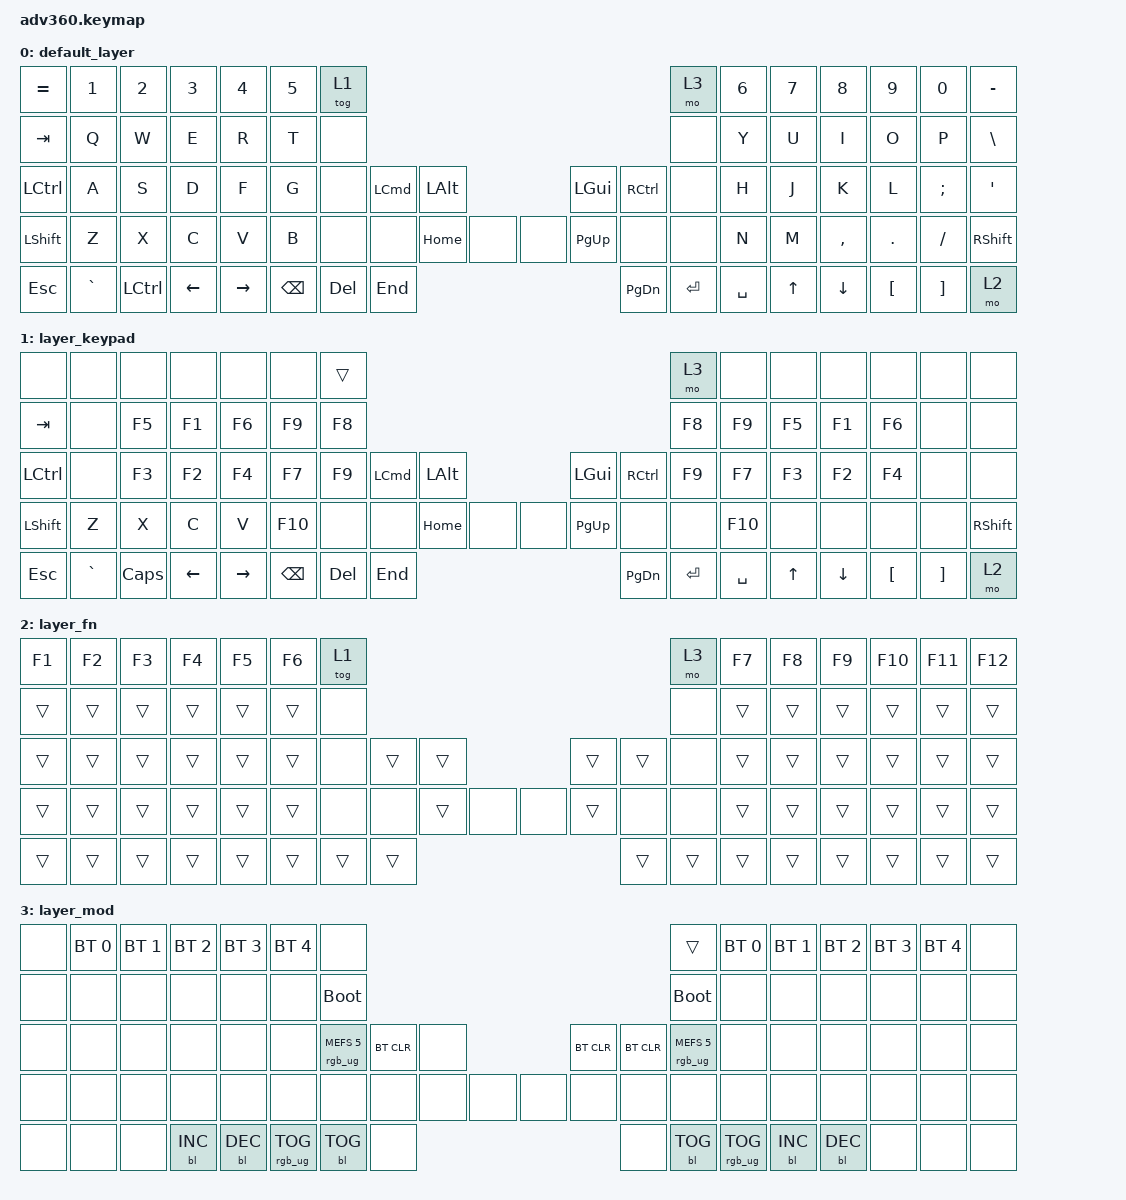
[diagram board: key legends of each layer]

/*
 * Copyright (c) 2020 The ZMK Contributors
 *
 * SPDX-License-Identifier: MIT
 */


/* THIS FILE WAS GENERATED!
 *
 * This file was generated automatically. You may or may not want to
 * edit it directly.
 */

#include <behaviors.dtsi>
#include <dt-bindings/zmk/keys.h>
#include <dt-bindings/zmk/bt.h>
#include <dt-bindings/zmk/rgb.h>
#include <dt-bindings/zmk/backlight.h>

/ {
  behaviors {
    #include "macros.dtsi"

    hm: homerow_mods {
        compatible = "zmk,behavior-hold-tap";
        label = "HOMEROW_MODS";
        #binding-cells = <2>;
        tapping-term-ms = <200>;
        quick_tap_ms = <175>;
        flavor = "tap-preferred";
        bindings = <&kp>, <&kp>;
    };
  };

    keymap {
        compatible = "zmk,keymap";


        default_layer {
            bindings = <
 &kp EQUAL     &kp N1     &kp N2    &kp N3     &kp N4  &kp N5              &tog 1                                                                        &mo 3  &kp N6  &kp N7     &kp N8    &kp N9    &kp N0  &kp MINUS
   &kp TAB      &kp Q      &kp W     &kp E      &kp R   &kp T               &none                                                                        &none   &kp Y   &kp U      &kp I     &kp O     &kp P   &kp BSLH
 &kp LCTRL      &kp A      &kp S     &kp D      &kp F   &kp G               &none  &kp LEFT_COMMAND  &kp LALT                   &kp LGUI  &kp RCTRL      &none   &kp H   &kp J      &kp K     &kp L  &kp SEMI    &kp SQT
 &kp LSHFT      &kp Z      &kp X     &kp C      &kp V   &kp B               &none             &none  &kp HOME   &none   &none  &kp PG_UP      &none      &none   &kp N   &kp M  &kp COMMA   &kp DOT  &kp FSLH  &kp RSHFT
   &kp ESC  &kp GRAVE  &kp LCTRL  &kp LEFT  &kp RIGHT                    &kp BSPC           &kp DEL   &kp END                  &kp PG_DN  &kp ENTER  &kp SPACE          &kp UP   &kp DOWN  &kp LBKT  &kp RBKT      &mo 2
            >;
        };

        layer_keypad {
            bindings = <
     &none      &none     &none     &none      &none    &none                   &trans                                                                &mo 3    &none   &none     &none     &none     &none      &none
   &kp TAB      &none    &kp F5    &kp F1     &kp F6   &kp F9                   &kp F8                                                               &kp F8   &kp F9  &kp F5    &kp F1    &kp F6     &none      &none
 &kp LCTRL      &none    &kp F3    &kp F2     &kp F4   &kp F7                   &kp F9  &kp LCMD  &kp LALT                   &kp LGUI  &kp RCTRL     &kp F9   &kp F7  &kp F3    &kp F2    &kp F4     &none      &none
 &kp LSHFT      &kp Z     &kp X     &kp C      &kp V  &kp F10                    &none     &none  &kp HOME   &none   &none  &kp PG_UP      &none      &none  &kp F10   &none     &none     &none     &none  &kp RSHFT
   &kp ESC  &kp GRAVE  &kp CAPS  &kp LEFT  &kp RIGHT                     &kp BACKSPACE   &kp DEL   &kp END                  &kp PG_DN  &kp ENTER  &kp SPACE           &kp UP  &kp DOWN  &kp LBKT  &kp RBKT      &mo 2
            >;
        };

        layer_fn {
            bindings = <
 &kp F1  &kp F2  &kp F3  &kp F4  &kp F5  &kp F6            &tog 1                                                   &mo 3  &kp F7  &kp F8  &kp F9  &kp F10  &kp F11  &kp F12
 &trans  &trans  &trans  &trans  &trans  &trans             &none                                                   &none  &trans  &trans  &trans   &trans   &trans   &trans
 &trans  &trans  &trans  &trans  &trans  &trans             &none  &trans  &trans                  &trans  &trans   &none  &trans  &trans  &trans   &trans   &trans   &trans
 &trans  &trans  &trans  &trans  &trans  &trans             &none   &none  &trans   &none   &none  &trans   &none   &none  &trans  &trans  &trans   &trans   &trans   &trans
 &trans  &trans  &trans  &trans  &trans                    &trans  &trans  &trans                  &trans  &trans  &trans          &trans  &trans   &trans   &trans   &trans
            >;
        };

        layer_mod {
            bindings = <
  &none  &bt BT_SEL 0  &bt BT_SEL 1  &bt BT_SEL 2  &bt BT_SEL 3  &bt BT_SEL 4                             &none                                                                              &trans  &bt BT_SEL 0  &bt BT_SEL 1  &bt BT_SEL 2  &bt BT_SEL 3  &bt BT_SEL 4   &none
  &none         &none         &none         &none         &none         &none                       &bootloader                                                                         &bootloader         &none         &none         &none         &none         &none   &none
  &none         &none         &none         &none         &none         &none            &rgb_ug RGB_MEFS_CMD 5  &bt BT_CLR   &none                  &bt BT_CLR  &bt BT_CLR  &rgb_ug RGB_MEFS_CMD 5         &none         &none         &none         &none         &none   &none
  &none         &none         &none         &none         &none         &none                             &none       &none   &none   &none   &none       &none       &none                   &none         &none         &none         &none         &none         &none   &none
  &none         &none         &none    &bl BL_INC    &bl BL_DEC                                 &rgb_ug RGB_TOG  &bl BL_TOG   &none                       &none  &bl BL_TOG         &rgb_ug RGB_TOG                  &bl BL_INC    &bl BL_DEC         &none         &none   &none
            >;
        };

    };
};
